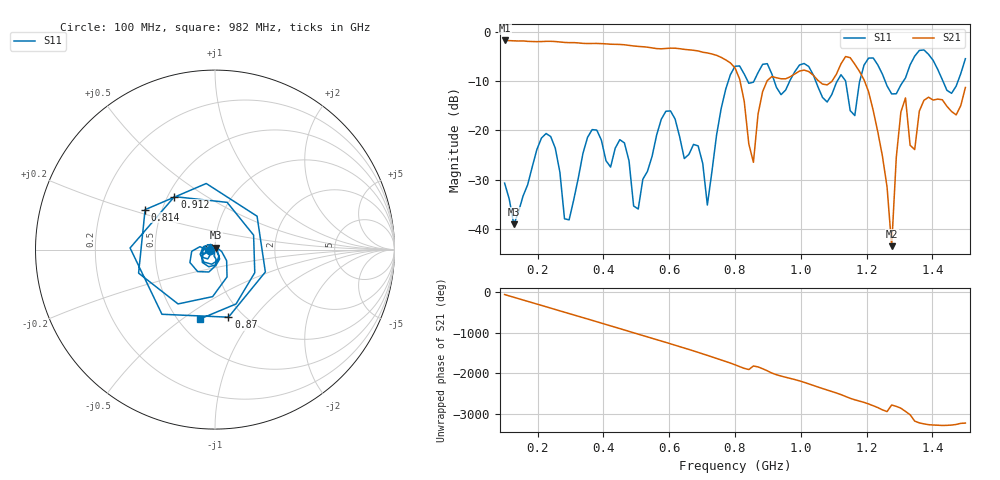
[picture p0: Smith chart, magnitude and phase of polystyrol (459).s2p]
! NanoVNA-App
! Date: 2025-09-25 15:33:27
! Start: 100MHz Stop: 1,5GHz Points: 101
! S-Parameter data: F S11 S21 S12 S22
# Hz S RI R 50
!  Frequency  S11_Real  S11_Imag  S21_Real  S21_Imag  S12_Real  S12_Imag  S22_Real  S22_Imag
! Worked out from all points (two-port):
!   101 points, 100 MHz to 1.5 GHz, reference 50 ohm
!   highest |S21| = -1.80 dB at 100 MHz (marker M1); lowest = -43.5 dB at 1.276 GHz (marker M2)
!   |S21| within 3 dB of the highest: start of sweep to 743.2 MHz
!   lowest |S11| = -39.1 dB at 128 MHz (marker M3), VSWR 1.02, Z = 50.3 + j1.06 ohm
!   |S11| at or under -10 dB: start of sweep to 779.9 MHz; 1.045 GHz to 1.111 GHz (66.03 MHz wide, 6.13 % of centre); 1.256 GHz to 1.312 GHz (55.92 MHz wide, 4.36 % of centre) (the widest 3 of 7)
!   S12 and S22 are empty: the file has one direction only
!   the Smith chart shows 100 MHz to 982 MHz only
!   S11 on the Smith chart (normalised r, x): 100 MHz: 0.94, -0.01; 814 MHz: 0.40, +0.22; 870 MHz: 0.85, -0.76; 912 MHz: 0.54, +0.37; 982 MHz: 0.64, -0.59
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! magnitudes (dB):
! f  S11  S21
! 100 MHz  -30.7  -1.8
! 128 MHz  -39.1  -1.9
! 212 MHz  -21.6  -2.0
! 282 MHz  -37.9  -2.2
! 338 MHz  -24.7  -2.4
! 464 MHz  -22.6  -2.7
! 506 MHz  -35.9  -3.0
! 576 MHz  -17.8  -3.5
! 716 MHz  -35.1  -4.3
! 800 MHz  -7.0  -7.3
! 814 MHz  -7.0  -9.6
! 856 MHz  -10.3  -26.5
! 870 MHz  -8.3  -16.7
! 912 MHz  -8.6  -9.1
! 982 MHz  -8.1  -8.6
! 1.038 GHz  -8.8  -8.9
! 1.164 GHz  -17.0  -6.6
! 1.192 GHz  -6.8  -9.7
! 1.276 GHz  -12.6  -43.5
! 1.318 GHz  -9.4  -13.4
! 1.346 GHz  -5.0  -23.9
! 1.5 GHz  -5.5  -11.3
